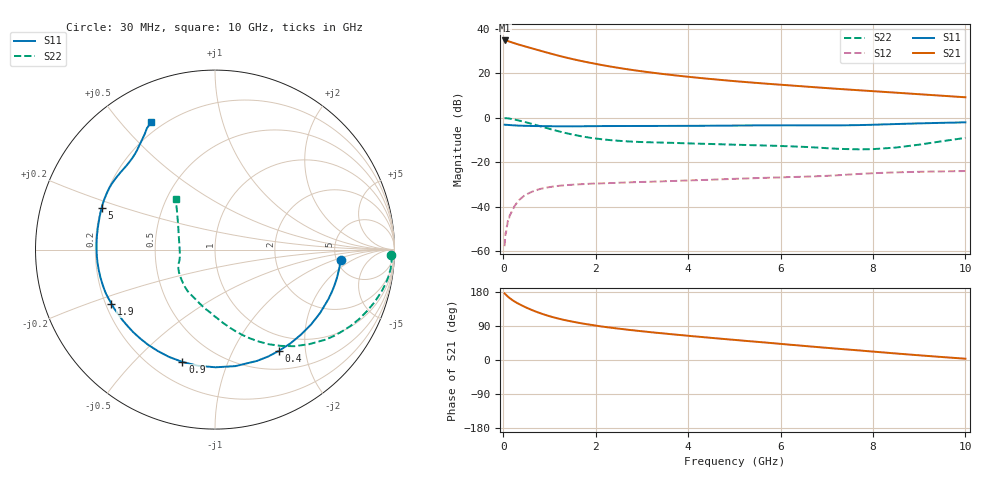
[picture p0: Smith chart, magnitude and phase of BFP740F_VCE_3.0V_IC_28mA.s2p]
! Infineon Technologies  Discrete & RF Semiconductors
! BFP740F
! VCE =  3.0 V,  IC =  28 mA
! Common Emitter S-Parameters:  Oct 2012
# GHz  S  MA  R  50
!  f  S11  S21  S12  S22
! GHz  MAG  ANG  MAG  ANG  MAG  ANG  MAG  ANG
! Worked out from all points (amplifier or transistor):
!   99 points, 30 MHz to 10 GHz, reference 50 ohm
!   highest |S21| = 34.9 dB at 30 MHz (marker M1)
!   |S21| within 3 dB of that: start of sweep to 528 MHz
!   unconditionally stable (mu >= 1): 5.44 GHz to end of sweep
!   at 350 MHz: K = 0.17, MSG = 34.9 dB, |S12| = -36.8 dB
!   at 3.5 GHz: K = 0.76, MSG = 24.1 dB, |S12| = -28.5 dB
!   at 10 GHz: K = 1.17, MAG = 14.1 dB, |S12| = -23.9 dB
!   S11 on the Smith chart (normalised r, x): 30 MHz: 5.41, -1.25; 400 MHz: 0.76, -1.54; 900 MHz: 0.32, -0.70; 1.9 GHz: 0.22, -0.23; 5 GHz: 0.20, +0.17; 10 GHz: 0.16, +0.61
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0.03  0.7017 -4.8  55.31 175.5  0.0013 93.2  0.9821 -1.9
0.07  0.698 -11.3  54.7 170.8  0.0032 86.6  0.9845 -6.2
0.11  0.694 -17.6  53.17 166.3  0.0051 83.8  0.9733 -10.3
0.15  0.6893 -23.7  51.54 162.3  0.0066 78.2  0.9579 -13.9
0.2  0.6838 -31.1  49.51 157.9  0.0084 76.1  0.9369 -18.1
0.3  0.6736 -44.8  45.89 150.5  0.0124 71.3  0.8915 -25.7
0.4  0.6669 -57.7  42.77 144.1  0.0159 64.8  0.8424 -32.7
0.5  0.6629 -69.3  39.91 138.3  0.0189 59.3  0.7938 -39.2
0.6  0.6591 -80.0  37.3 132.9  0.0213 55.0  0.7439 -45.1
0.8  0.6541 -98.4  32.56 123.5  0.0252 47.6  0.6502 -55.6
0.9  0.6518 -106.2  30.45 119.4  0.0266 44.8  0.6073 -60.3
1.1  0.6487 -119.5  26.72 112.2  0.0288 39.8  0.5317 -68.5
1.3  0.6473 -130.2  23.63 106.2  0.0303 36.4  0.4702 -75.7
1.7  0.6483 -146.2  18.98 96.7  0.0323 32.0  0.3838 -87.9
1.9  0.6513 -152.3  17.24 92.8  0.0331 30.3  0.3547 -93.5
2.5  0.6568 -166.4  13.34 82.7  0.0348 28.0  0.3054 -108.1
3.4  0.6601 179.3  9.902 70.9  0.0372 27.5  0.279 -122.1
5  0.6731 159.9  6.729 53.1  0.0426 27.8  0.2496 -138.7
5.1  0.6745 158.9  6.595 52.0  0.0429 27.7  0.2481 -139.9
6.7  0.68 142.0  4.937 35.2  0.0482 28.0  0.2177 -158.6
8.5  0.7279 124.5  3.695 17.2  0.0595 24.5  0.2154 159.6
10  0.7946 116.5  2.913 3.4  0.0637 18.9  0.3553 127.9
